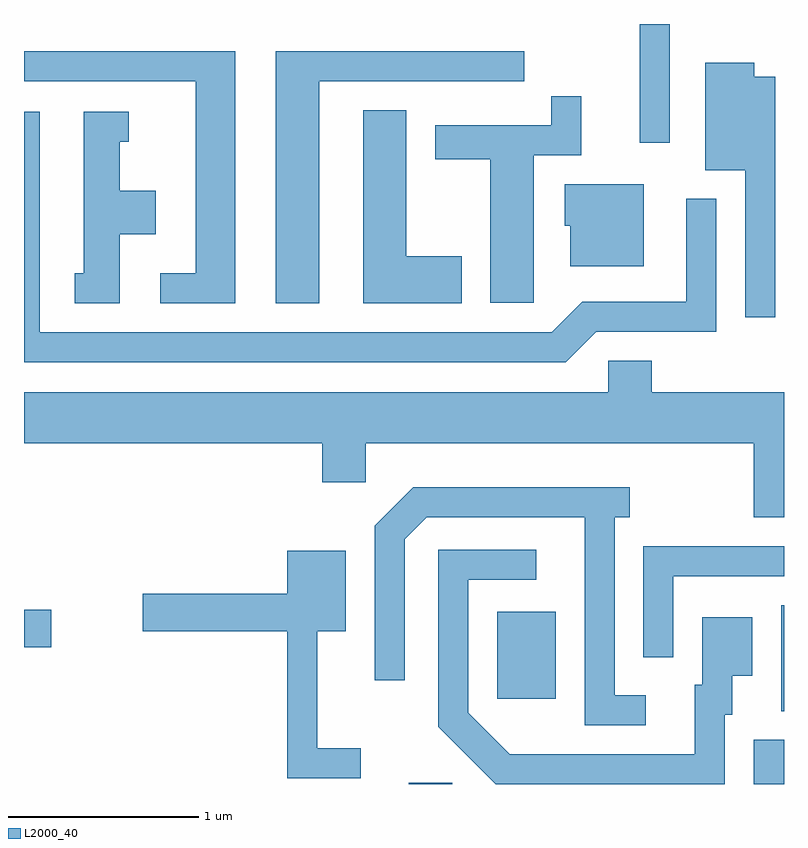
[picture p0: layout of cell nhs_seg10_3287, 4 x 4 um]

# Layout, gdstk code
import gdstk
lib = gdstk.Library(unit=1e-6, precision=1e-09)
def R(c, l, rs):  # rectangles x0, y0, x1, y1
    for r in rs: c.add(gdstk.rectangle(r[:2], r[2:], *l))
def P(c, l, *ps):  # polygons
    for p in ps: c.add(gdstk.Polygon(p, *l))
L2000_40 = (2000, 40)

nhs_seg10_3287 = lib.new_cell('nhs_seg10_3287')
R(nhs_seg10_3287, L2000_40, [(283.636,2156.522,283.864,2156.529), (285.451,2156.522,285.611,2156.754), (285.596,2156.906,285.611,2157.464), (284.101,2156.971,284.409,2157.429), (281.611,2157.241,281.754,2157.439), (284.851,2159.898,285.009,2160.522)])
P(nhs_seg10_3287, L2000_40, [(283.164,2160.221),(284.243,2160.221),(284.243,2160.379),(282.936,2160.379),(282.936,2159.051),(283.164,2159.051)],
  [(282.724,2160.379),(281.611,2160.379),(281.611,2160.221),(282.516,2160.221),(282.516,2159.209),(282.328,2159.209),(282.328,2159.051),(282.724,2159.051)],
  [(285.564,2160.244),(285.454,2160.244),(285.454,2160.319),(285.196,2160.319),(285.196,2159.751),(285.406,2159.751),(285.406,2158.978),(285.564,2158.978)],
  [(284.294,2159.831),(284.544,2159.831),(284.544,2160.143),(284.386,2160.143),(284.386,2159.989),(283.776,2159.989),(283.776,2159.811),(284.066,2159.811),(284.066,2159.056),(284.294,2159.056)],
  [(283.914,2159.299),(283.624,2159.299),(283.624,2160.069),(283.396,2160.069),(283.396,2159.051),(283.914,2159.051)],
  [(282.114,2159.416),(282.304,2159.416),(282.304,2159.644),(282.114,2159.644),(282.114,2159.901),(282.163,2159.901),(282.163,2160.059),(281.926,2160.059),(281.926,2159.209),(281.878,2159.209),(281.878,2159.051),(282.114,2159.051)],
  [(284.622,2158.901),(285.254,2158.901),(285.254,2159.603),(285.096,2159.603),(285.096,2159.059),(284.549,2159.059),(284.389,2158.899),(281.694,2158.899),(281.694,2160.059),(281.611,2160.059),(281.611,2158.741),(284.462,2158.741)],
  [(284.874,2159.679),(284.456,2159.679),(284.456,2159.461),(284.486,2159.461),(284.486,2159.246),(284.874,2159.246)],
  [(285.611,2158.584),(284.914,2158.584),(284.914,2158.749),(284.686,2158.749),(284.686,2158.584),(281.611,2158.584),(281.611,2158.316),(283.181,2158.316),(283.181,2158.111),(283.409,2158.111),(283.409,2158.316),(285.451,2158.316),(285.451,2157.926),(285.611,2157.926)],
  [(284.883,2156.989),(284.719,2156.989),(284.719,2157.926),(284.798,2157.926),(284.798,2158.084),(283.659,2158.084),(283.456,2157.882),(283.456,2157.068),(283.614,2157.068),(283.614,2157.809),(283.732,2157.926),(284.561,2157.926),(284.561,2156.831),(284.883,2156.831)],
  [(285.029,2157.616),(285.611,2157.616),(285.611,2157.774),(284.871,2157.774),(284.871,2157.188),(285.029,2157.188)],
  [(285.299,2156.886),(285.339,2156.886),(285.339,2157.091),(285.444,2157.091),(285.444,2157.399),(285.181,2157.399),(285.181,2157.044),(285.141,2157.044),(285.141,2156.679),(284.167,2156.679),(283.949,2156.897),(283.949,2157.596),(284.308,2157.596),(284.308,2157.754),(283.791,2157.754),(283.791,2156.824),(284.093,2156.522),(285.299,2156.522)],
  [(283.383,2156.709),(283.154,2156.709),(283.154,2157.326),(283.304,2157.326),(283.304,2157.749),(282.996,2157.749),(282.996,2157.524),(282.236,2157.524),(282.236,2157.326),(282.996,2157.326),(282.996,2156.551),(283.383,2156.551)])

lib.write_gds('nhs_seg10_3287.gds')
